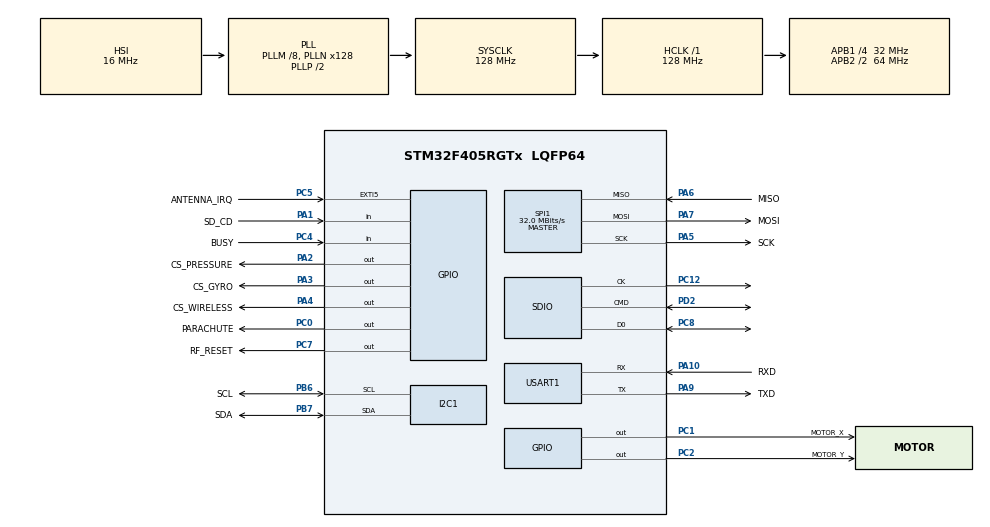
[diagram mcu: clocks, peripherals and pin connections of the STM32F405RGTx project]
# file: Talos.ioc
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FATFS.BSP.number=1
FATFS0.BSP.STBoard=false
FATFS0.BSP.api=Unknown
FATFS0.BSP.instance=PA1
FATFS0.BSP.ip=GPIO
FATFS0.BSP.mode=Input
FATFS0.BSP.name=Detect_SDIO
FATFS0.BSP.solution=PA1
I2C1.OwnAddress=0x41
Mcu.Family=STM32F4
Mcu.Name=STM32F405RGTx
Mcu.Package=LQFP64
NVIC.PriorityGroup=NVIC_PRIORITYGROUP_4
PA1.GPIO_Label=SD_CD
PA1.Signal=GPIO_Input
PA10.GPIO_Label=RXD
PA10.Mode=Asynchronous
PA10.Signal=USART1_RX
PA2.GPIO_Label=CS_PRESSURE
PA2.Signal=GPIO_Output
PA3.GPIO_Label=CS_GYRO
PA3.Signal=GPIO_Output
PA4.GPIO_Label=CS_WIRELESS
PA4.Signal=GPIO_Output
PA5.GPIO_Label=SCK
PA5.Mode=Full_Duplex_Master
PA5.Signal=SPI1_SCK
PA6.GPIO_Label=MISO
PA6.Mode=Full_Duplex_Master
PA6.Signal=SPI1_MISO
PA7.GPIO_Label=MOSI
PA7.Mode=Full_Duplex_Master
PA7.Signal=SPI1_MOSI
PA9.GPIO_Label=TXD
PA9.Mode=Asynchronous
PA9.Signal=USART1_TX
PB6.GPIO_Label=SCL
PB6.Mode=I2C
PB6.Signal=I2C1_SCL
PB7.GPIO_Label=SDA
PB7.Mode=I2C
PB7.Signal=I2C1_SDA
PC0.GPIO_Label=PARACHUTE
PC0.Signal=GPIO_Output
PC1.GPIO_Label=MOTOR_X
PC1.Signal=GPIO_Output
PC12.Mode=SD_1_bit
PC12.Signal=SDIO_CK
PC2.GPIO_Label=MOTOR_Y
PC2.Signal=GPIO_Output
PC3.GPIO_Label=IMU_INT
PC3.Signal=EVENTOUT
PC4.GPIO_Label=BUSY
PC4.Signal=GPIO_Input
PC5.GPIO_Label=ANTENNA_IRQ
PC5.Signal=GPXTI5
PC6.GPIO_Label=PRESSURE_INT
PC6.Signal=EVENTOUT
PC7.GPIO_Label=RF_RESET
PC7.Signal=GPIO_Output
PC8.Mode=SD_1_bit
PC8.Signal=SDIO_D0
PD2.Mode=SD_1_bit
PD2.Signal=SDIO_CMD
PH0-OSC_IN.Signal=RCC_OSC_IN
PH1-OSC_OUT.Signal=RCC_OSC_OUT
ProjectManager.HeapSize=0x200
ProjectManager.StackSize=0x400
ProjectManager.TargetToolchain=Makefile
RCC.48MHZClocksFreq_Value=42666666.666666664
RCC.AHBFreq_Value=128000000
RCC.APB1CLKDivider=RCC_HCLK_DIV4
RCC.APB1Freq_Value=32000000
RCC.APB1TimFreq_Value=64000000
RCC.APB2CLKDivider=RCC_HCLK_DIV2
RCC.APB2Freq_Value=64000000
RCC.APB2TimFreq_Value=128000000
RCC.CortexFreq_Value=128000000
RCC.HCLKFreq_Value=128000000
RCC.HSE_VALUE=25000000
RCC.HSI_VALUE=16000000
RCC.LSE_VALUE=32768
RCC.PLLM=8
RCC.PLLN=128
RCC.PLLQ=6
RCC.SYSCLKFreq_VALUE=128000000
RCC.SYSCLKSource=RCC_SYSCLKSOURCE_PLLCLK
RCC.VCOOutputFreq_Value=256000000
SPI1.CalculateBaudRate=32.0 MBits/s
SPI1.Direction=SPI_DIRECTION_2LINES
SPI1.Mode=SPI_MODE_MASTER
SPI1.VirtualType=VM_MASTER
USART1.VirtualMode=VM_ASYNC
VP_FATFS_VS_SDIO.Mode=SDIO
board=custom

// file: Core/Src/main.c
/* USER CODE BEGIN Header */
/**
  ******************************************************************************
  * @file           : main.c
  * @brief          : Main program body
  ******************************************************************************
  * @attention
  *
  * Copyright (c) 2024 STMicroelectronics.
  * All rights reserved.
  *
  * This software is licensed under terms that can be found in the LICENSE file
  * in the root directory of this software component.
  * If no LICENSE file comes with this software, it is provided AS-IS.
  *
  ******************************************************************************
  */
/* USER CODE END Header */
#include "main.h"
#include "fatfs.h"

/* USER CODE BEGIN Includes */
#include <lsm6dsm_reg.h>
#include <stm32f405xx.h>
#include <llcc68_hal.h>
#include <llcc68.h>
#include <bmp5.h>
/* USER CODE END Includes */

I2C_HandleTypeDef hi2c1;

SD_HandleTypeDef hsd;

SPI_HandleTypeDef hspi1;

UART_HandleTypeDef huart1;

void SystemClock_Config(void);
static void MX_GPIO_Init(void);
static void MX_SDIO_SD_Init(void);
static void MX_USART1_UART_Init(void);
static void MX_I2C1_Init(void);
static void MX_SPI1_Init(void);
/* USER CODE BEGIN PFP */
// function prototype
static int32_t lsm6dsm_platform_write(void *handle, uint8_t reg, const uint8_t *bufp,
                              uint16_t len);
static int32_t lsm6dsm_platform_read(void *handle, uint8_t reg, uint8_t *bufp,
                             uint16_t len);
static void platform_delay(uint32_t ms);

static int32_t llcc68_platform_write_read(void *handle, const uint8_t *command, uint16_t command_length,
                                          uint8_t *data, uint16_t data_length);
                                          static int32_t llcc68_platform_read(void *handle, const uint8_t *command, uint16_t command_length,
                                          uint8_t *data, uint16_t data_length);
                                          static int32_t llcc68_platform_write(void *handle, const uint8_t *command, uint16_t command_length,
                                          const uint8_t *data, uint16_t data_length);
static int32_t llcc68_platform_reset(void *handle);
static int32_t bmp5_read(uint8_t reg_addr, uint8_t *read_data, uint32_t len, void *intf_ptr);
static int32_t bmp5_write(uint8_t reg_addr,
  const uint8_t * reg_data, uint32_t len, void *intf_ptr);
  void bmp5_error_codes_print_result(const char api_name[], int8_t rslt);
  static int8_t bmp5_set_config(struct bmp5_osr_odr_press_config *osr_odr_press_cfg, struct bmp5_dev *dev);
/* USER CODE END PFP */

/* USER CODE BEGIN 0 */
  int16_t temp;
//variable initialization
static int16_t data_raw_acceleration[3];
static int16_t data_raw_angular_rate[3];
static int16_t data_raw_temperature;
static float acceleration_mg[3];
static float angular_rate_mdps[3];
static float temperature_degC;
static uint8_t whoamI, rst;
typedef struct {
  float q; // Process noise covariance
  float r; // Measurement noise covariance
  float x; // Value
  float p; // Estimation error covariance
  float k; // Kalman gain
} KalmanFilter;

void kalman_init(KalmanFilter* kf, float q, float r, float initial_value) {
  kf->q = q;
  kf->r = r;
  kf->x = initial_value;
  kf->p = 1.0f;
  kf->k = 0.0f;
}

float kalman_update(KalmanFilter* kf, float measurement) {
  // Prediction update
  kf->p += kf->q;

  // Measurement update
  kf->k = kf->p / (kf->p + kf->r);
  kf->x += kf->k * (measurement - kf->x);
  kf->p *= (1.0f - kf->k);

  return kf->x;
}
KalmanFilter kalman_acc[3];
KalmanFilter kalman_gyro[3];
/* USER CODE END 0 */

int main(void)
{

  /* MCU Configuration--------------------------------------------------------*/

  /* Reset of all peripherals, Initializes the Flash interface and the Systick. */
  HAL_Init();

  /* Configure the system clock */
  SystemClock_Config();

  /* Initialize all configured peripherals */
  MX_GPIO_Init();
  MX_SDIO_SD_Init();
  MX_USART1_UART_Init();
  MX_I2C1_Init();
  MX_FATFS_Init();
  MX_SPI1_Init();
  /* USER CODE BEGIN 2 */

  //  HAL_GPIO_WritePin(CS_GYRO_GPIO_Port, CS_GYRO_Pin, GPIO_PIN_SET);

   // variable initialization for sensor access
  stmdev_ctx_t dev_ctx;
  dev_ctx.write_reg = lsm6dsm_platform_write;
  dev_ctx.read_reg = lsm6dsm_platform_read;
  dev_ctx.handle = &hspi1;

  llcc68_ctx_t radio_ctx;
  radio_ctx.write_reg = llcc68_platform_write;
  radio_ctx.read_reg = llcc68_platform_read;
  radio_ctx.reset = llcc68_platform_reset;
  radio_ctx.handle = &hspi1;
  radio_ctx.gpio = CS_WIRELESS_GPIO_Port;

  // int8_t rslt;
  // struct bmp5_dev bmp5_ctx;
  // bmp5_ctx.intf = BMP5_SPI_INTF;
  // bmp5_ctx.intf_ptr = &hspi1;
  // bmp5_ctx.read = (bmp5_read_fptr_t) &bmp5_read;
  // bmp5_ctx.write = (bmp5_write_fptr_t) &bmp5_write;
  // bmp5_ctx.delay_us = (bmp5_delay_us_fptr_t) &platform_delay;
  // struct bmp5_osr_odr_press_config osr_odr_press_cfg = { 0 };

  /* Wait sensor boot time */
  platform_delay(1000);

  // PRESSURE SENSOR CONFIGURATION
  // bmp5_read(BMP5_REG_CHIP_ID, &whoamI, 1, &hspi1);
  // printf("Pressure sensor who am I: %d\n", whoamI);
  // rslt = bmp5_init(&bmp5_ctx);
  // bmp5_error_codes_print_result("bmp5_init", rslt);
  // if (rslt == BMP5_OK) {
  //   rslt = bmp5_set_config(&osr_odr_press_cfg, &bmp5_ctx);
  //   bmp5_error_codes_print_result("set_config", rslt);
  // }

  // IMU CONFIGURATION

  //set SPI as 3 wire communication
  lsm6dsm_spi_mode_set(&dev_ctx,LSM6DSM_SPI_3_WIRE);
  //set auto increment to read several register at same time
  lsm6dsm_auto_increment_set(&dev_ctx, 1);

  /* Check device ID */
  lsm6dsm_device_id_get(&dev_ctx, &whoamI);

  if (whoamI != LSM6DSM_ID)
    while (1) {
      /* manage here device not found */
    }

  /* Restore default configuration */
  // you should not call this function because it will give uncorrect output register value
  //lsm6dsm_reset_set(&dev_ctx, PROPERTY_ENABLE);

  do {
    lsm6dsm_reset_get(&dev_ctx, &rst);
  } while (rst);

  /*  Enable Block Data Update */
  lsm6dsm_block_data_update_set(&dev_ctx, PROPERTY_ENABLE);
  /* Set Output Data Rate for Acc and Gyro */
  lsm6dsm_xl_data_rate_set(&dev_ctx, LSM6DSM_XL_ODR_104Hz);
  lsm6dsm_gy_data_rate_set(&dev_ctx, LSM6DSM_XL_ODR_6k66Hz);
  /* Set full scale */
  lsm6dsm_xl_full_scale_set(&dev_ctx, LSM6DSM_2g);
  lsm6dsm_gy_full_scale_set(&dev_ctx, LSM6DSM_2000dps);
  /* Configure filtering chain(No aux interface)
   * Accelerometer - analog filter
   */
  lsm6dsm_xl_filter_analog_set(&dev_ctx, LSM6DSM_XL_ANA_BW_400Hz);
  /* Accelerometer - LPF1 path (LPF2 not used) */
  //lsm6dsm_xl_lp1_bandwidth_set(&dev_ctx, LSM6DSM_XL_LP1_ODR_DIV_4);
  /* Accelerometer - LPF1 + LPF2 path */
  lsm6dsm_xl_lp2_bandwidth_set(&dev_ctx,
                               LSM6DSM_XL_LOW_LAT_LP_ODR_DIV_400);
  /* Accelerometer - High Pass / Slope path */
  //lsm6dsm_xl_reference_mode_set(&dev_ctx, PROPERTY_DISABLE);
  //lsm6dsm_xl_hp_bandwidth_set(&dev_ctx, LSM6DSM_XL_HP_ODR_DIV_100);
  /* Gyroscope - filtering chain */
  lsm6dsm_gy_band_pass_set(&dev_ctx,  LSM6DSM_HP_DISABLE_LP1_LIGHT     );
  // update the offset bias of acceleration
  platform_delay(2000);

  const int SAMPLE_SIZE = 1000;
  //create a while loop that gets 5 sample of acceleration and calculate the average, then set the offset weight and write it to the sensor taking to account the above
  int16_t acc_bias[3] = {0, 0, 0};
  int i = 0;
  do {
    lsm6dsm_reg_t reg;
      /* Read output only if new value is available */
      lsm6dsm_status_reg_get(&dev_ctx, &reg.status_reg);
      if (reg.status_reg.xlda) {
        /* Read acceleration field data */
        memset(data_raw_acceleration, 0x00, 3 * sizeof(int16_t));
        lsm6dsm_acceleration_raw_get(&dev_ctx, data_raw_acceleration);
        acc_bias[0] += lsm6dsm_from_fs2g_to_mg(data_raw_acceleration[0]);
        acc_bias[1] += lsm6dsm_from_fs2g_to_mg(data_raw_acceleration[1]);
        acc_bias[2] += lsm6dsm_from_fs2g_to_mg(data_raw_acceleration[2]);
        // platform_delay(100);
        i++;
      }
  } while (i < SAMPLE_SIZE);
  acc_bias[0] /= SAMPLE_SIZE;
  acc_bias[1] /= SAMPLE_SIZE;
  acc_bias[2] /= SAMPLE_SIZE;

  acc_bias[0] = 0;
  acc_bias[1] = 0;
  acc_bias[2] = 0;
  // for (int i = 0; i < 10; i++) {
  //   lsm6dsm_acceleration_raw_get(&dev_ctx, data_raw_acceleration);
  //   acc_bias[0] += lsm6dsm_from_fs2g_to_mg(data_raw_acceleration[0]);
  //   acc_bias[1] += lsm6dsm_from_fs2g_to_mg(data_raw_acceleration[1]);
  //   acc_bias[2] += lsm6dsm_from_fs2g_to_mg(data_raw_acceleration[2]);
  //   platform_delay(100);
  // }
  // acc_bias[0] /= 10;
  // acc_bias[1] /= 10;
  // acc_bias[2] /= 10;

  // lsm6dsm_xl_usr_offset_set(&dev_ctx, (uint8_t*)acc_bias);

  // do the same for gyro
  int16_t gyro_bias[3] = {0, 0, 0};
  i = 0;
  do {
    lsm6dsm_reg_t reg;
	    /* Read output only if new value is available */
	    lsm6dsm_status_reg_get(&dev_ctx, &reg.status_reg);
      if (reg.status_reg.gda) {
        /* Read angular rate field data */
        memset(data_raw_angular_rate, 0x00, 3 * sizeof(int16_t));
        lsm6dsm_angular_rate_raw_get(&dev_ctx, data_raw_angular_rate);
        gyro_bias[0] += lsm6dsm_from_fs2000dps_to_mdps(data_raw_angular_rate[0]);
        gyro_bias[1] += lsm6dsm_from_fs2000dps_to_mdps(data_raw_angular_rate[1]);
        gyro_bias[2] += lsm6dsm_from_fs2000dps_to_mdps(data_raw_angular_rate[2]);
        // platform_delay(100);
        i++;
      }
  } while (i < SAMPLE_SIZE);
  gyro_bias[0] /= SAMPLE_SIZE;
  gyro_bias[1] /= SAMPLE_SIZE;
  gyro_bias[2] /= SAMPLE_SIZE;

  for (int i = 0; i < 3; i++) {
    kalman_init(&kalman_acc[i], 0.1f, 10.0f, 0.0f);
    kalman_init(&kalman_gyro[i], 0.1f, 10.0f, 0.0f);
  }

  gyro_bias[0] = 0;
  gyro_bias[1] = 0;
  gyro_bias[2] = 0;

  // LORA MODULE CONFIGURATION
  // llcc68_reset(&radio_ctx);
  // platform_delay(100);
  //   llcc68_set_standby(&radio_ctx, LLCC68_STANDBY_CFG_RC);
  //   llcc68_set_pkt_type(&radio_ctx, LLCC68_PKT_TYPE_LORA);
  //   llcc68_set_rf_freq(&radio_ctx, 433000000);
  // //   // // 17dBm
  // //   // // {0x03, 0x05, 0x00, 0x01}
  //   const llcc68_pa_cfg_params_t pa_cfg = {0x03,
  //     0x05,
  //    0x00,
  //     0x01
  //   };
  //   const llcc68_pkt_params_lora_t pkt_params = {14, LLCC68_LORA_PKT_EXPLICIT, 14, true, false};
  //   const llcc68_mod_params_lora_t mod_params = {LLCC68_LORA_SF11, LLCC68_LORA_BW_250, LLCC68_LORA_CR_4_5, 0};
  //   llcc68_set_pa_cfg(&radio_ctx, &pa_cfg);
  //   // //The output power is defined as power in dBm in a range of - 9 (0xF7) to +22 (0x16) dBm by step of 1 dB
  //   llcc68_set_tx_params(&radio_ctx, 0x16, LLCC68_RAMP_200_US);
  //   // llcc68_set_lora_mod_params(&radio_ctx, &mod_params);
  //   // llcc68_set_lora_pkt_params(&radio_ctx, &pkt_params);
  //    platform_delay(100);

  /* USER CODE END 2 */

  /* Infinite loop */
  /* USER CODE BEGIN WHILE */
  while (1)
  {
    // HAL_UART_Transmit(&huart1, (uint8_t*)"Hello World!\r\n", 14, 1000);
    // TEMPERATURE SENSOR INIT

    // if (HAL_I2C_IsDeviceReady(&hi2c1, 0x41 << 1, 2, 1000) == HAL_OK) {
    //   if (HAL_I2C_Master_Transmit(&hi2c1, 0x41 << 1, (uint8_t*)0xBC, 2, 1000) == HAL_OK) {
    //     uint8_t tempData[3];
    //     if (HAL_I2C_Master_Receive(&hi2c1, 0x41 << 1, &tempData, 3, 1000) == HAL_OK) {
    //       temp = (int16_t)((tempData[1] << 8) | tempData[0]);
    //       float tempFloat = ((float)temp/256.0f)+25.0f;
    //       printf("Temperature: %.3f\r\n", tempFloat);
    //     }
    //   }
    // }
    /* USER CODE END WHILE */

    /* USER CODE BEGIN 3 */
     lsm6dsm_reg_t reg;
	    /* Read output only if new value is available */
	    lsm6dsm_status_reg_get(&dev_ctx, &reg.status_reg);
	    if (reg.status_reg.xlda) {
	      /* Read acceleration field data */
	      memset(data_raw_acceleration, 0x00, 3 * sizeof(int16_t));
	      lsm6dsm_acceleration_raw_get(&dev_ctx, data_raw_acceleration);
	      acceleration_mg[0] = kalman_update(&kalman_acc[0],
          lsm6dsm_from_fs2g_to_mg(data_raw_acceleration[0]) - acc_bias[0]);
acceleration_mg[1] = kalman_update(&kalman_acc[1],
          lsm6dsm_from_fs2g_to_mg(data_raw_acceleration[1]) - acc_bias[1]);
acceleration_mg[2] = kalman_update(&kalman_acc[2],
          lsm6dsm_from_fs2g_to_mg(data_raw_acceleration[2]) - acc_bias[2]);
	      // printf("Acceleration [mg]:%4.2f\t%4.2f\t%4.2f\r\n",
	      //         acceleration_mg[0], acceleration_mg[1], acceleration_mg[2]);
        // printf("ACCEL:%4.2f,%4.2f,%4.2f\r\n", acceleration_mg[0], acceleration_mg[1], acceleration_mg[2]);
	    } else {
        acceleration_mg[0] = 0;
        acceleration_mg[1] = 0;
        acceleration_mg[2] = 0;
      }

	    if (reg.status_reg.gda) {
	      /* Read angular rate field data */
	      memset(data_raw_angular_rate, 0x00, 3 * sizeof(int16_t));
	      lsm6dsm_angular_rate_raw_get(&dev_ctx, data_raw_angular_rate);
	      angular_rate_mdps[0] = kalman_update(&kalman_gyro[0],
          lsm6dsm_from_fs2000dps_to_mdps(data_raw_angular_rate[0]) - gyro_bias[0]);
angular_rate_mdps[1] = kalman_update(&kalman_gyro[1],
          lsm6dsm_from_fs2000dps_to_mdps(data_raw_angular_rate[1]) - gyro_bias[1]);
angular_rate_mdps[2] = kalman_update(&kalman_gyro[2],
          lsm6dsm_from_fs2000dps_to_mdps(data_raw_angular_rate[2]) - gyro_bias[2]);
	      // printf("Angular rate [mdps]:%4.2f\t%4.2f\t%4.2f\r\n", angular_rate_mdps[0], angular_rate_mdps[1], angular_rate_mdps[2]);
	      // printf("ANGLE:%4.2f,%4.2f,%4.2f\r\n", angular_rate_mdps[0], angular_rate_mdps[1], angular_rate_mdps[2]);
	    }
	    if (reg.status_reg.tda) {
	      /* Read temperature data */
	      memset(&data_raw_temperature, 0x00, sizeof(int16_t));
	      lsm6dsm_temperature_raw_get(&dev_ctx, &data_raw_temperature);
	      temperature_degC = lsm6dsm_from_lsb_to_celsius(
	                           data_raw_temperature);
	      // printf("Temperature [degC]:%6.2f\r\n",
	      //         temperature_degC);
        // printf("TEMP:%.2f,101.325\r\n", temperature_degC);
	    }
      printf("%4.2f,%4.2f,%4.2f,%4.2f,%4.2f,%4.2f,%.2f,101.325\r\n", acceleration_mg[0], acceleration_mg[1], acceleration_mg[2], angular_rate_mdps[0], angular_rate_mdps[1], angular_rate_mdps[2], temperature_degC);
      // acceleration_mg[0] = 0;
      // acceleration_mg[1] = 0;
      // acceleration_mg[2] = 0;
      // angular_rate_mdps[0] = 0;
      // angular_rate_mdps[1] = 0;
      // angular_rate_mdps[2] = 0;
      // temperature_degC = 0;

      // uint8_t int_status;
      // struct bmp5_sensor_data bmp5_data;
      //   rslt = bmp5_get_interrupt_status(&int_status, &bmp5_ctx);
      //   bmp5_error_codes_print_result("bmp5_get_interrupt_status", rslt);

      //   if (int_status & BMP5_INT_ASSERTED_DRDY)
      //   {
      //       rslt = bmp5_get_sensor_data(&bmp5_data, &osr_odr_press_cfg, &bmp5_ctx);
      //       bmp5_error_codes_print_result("bmp5_get_sensor_data", rslt);

      //       if (rslt == BMP5_OK)
      //       {
      //           printf("%f\r\n", bmp5_data.pressure);
      //       }
      //   }
    //   llcc68_set_buffer_base_address(&radio_ctx, 0x00, 0x00);
    // llcc68_write_buffer(&radio_ctx, 0x00, (uint8_t*)"Hello World!\r\n", 14);
    // llcc68_set_lora_mod_params(&radio_ctx, &mod_params);
    // llcc68_set_lora_pkt_params(&radio_ctx, &pkt_params);
    // llcc68_set_dio_irq_params(&radio_ctx, LLCC68_IRQ_TX_DONE | LLCC68_IRQ_RX_DONE, LLCC68_IRQ_TX_DONE | LLCC68_IRQ_RX_DONE, LLCC68_IRQ_NONE, LLCC68_IRQ_NONE);

    // llcc68_write_register(&radio_ctx, 0x06C0, (uint8_t)0x12, 1);
    // llcc68_write_register(&radio_ctx, 0x06C1, (uint8_t)0x23, 1);
    // llcc68_write_register(&radio_ctx, 0x06C2, (uint8_t)0x34, 1);
    // llcc68_write_register(&radio_ctx, 0x06C3, (uint8_t)0x45, 1);
    // llcc68_write_register(&radio_ctx, 0x06C4, (uint8_t)0x56, 1);
    // llcc68_write_register(&radio_ctx, 0x06C5, (uint8_t)0x67, 1);
    // llcc68_write_register(&radio_ctx, 0x06C6, (uint8_t)0x78, 1);
    // llcc68_write_register(&radio_ctx, 0x06C7, (uint8_t)0x89, 1);

    // llcc68_set_tx(&radio_ctx, 100);
    // platform_delay(100);
    // //  llcc68_set_standby(&radio_ctx, LLCC68_STANDBY_CFG_RC);
    //   llcc68_chip_status_t chip_status;
    //   llcc68_get_status(&radio_ctx, &chip_status);
    //   printf("Chip Mode: %d, Chip Status: %d\r\n", chip_status.chip_mode, chip_status.cmd_status);
    //  // print if busy or not with busy gpio pin
    //  HAL_GPIO_ReadPin(BUSY_GPIO_Port, BUSY_Pin) == GPIO_PIN_SET ? printf("Busy\r\n") : printf("Not Busy\r\n");
    //   platform_delay(100);
  }
  /* USER CODE END 3 */
}

void SystemClock_Config(void)
{
  RCC_OscInitTypeDef RCC_OscInitStruct = {0};
  RCC_ClkInitTypeDef RCC_ClkInitStruct = {0};

  /** Configure the main internal regulator output voltage
  */
  __HAL_RCC_PWR_CLK_ENABLE();
  __HAL_PWR_VOLTAGESCALING_CONFIG(PWR_REGULATOR_VOLTAGE_SCALE1);

  /** Initializes the RCC Oscillators according to the specified parameters
  * in the RCC_OscInitTypeDef structure.
  */
  RCC_OscInitStruct.OscillatorType = RCC_OSCILLATORTYPE_HSI;
  RCC_OscInitStruct.HSIState = RCC_HSI_ON;
  RCC_OscInitStruct.HSICalibrationValue = RCC_HSICALIBRATION_DEFAULT;
  RCC_OscInitStruct.PLL.PLLState = RCC_PLL_ON;
  RCC_OscInitStruct.PLL.PLLSource = RCC_PLLSOURCE_HSI;
  RCC_OscInitStruct.PLL.PLLM = 8;
  RCC_OscInitStruct.PLL.PLLN = 128;
  RCC_OscInitStruct.PLL.PLLP = RCC_PLLP_DIV2;
  RCC_OscInitStruct.PLL.PLLQ = 6;
  if (HAL_RCC_OscConfig(&RCC_OscInitStruct) != HAL_OK)
  {
    Error_Handler();
  }

  /** Initializes the CPU, AHB and APB buses clocks
  */
  RCC_ClkInitStruct.ClockType = RCC_CLOCKTYPE_HCLK|RCC_CLOCKTYPE_SYSCLK
                              |RCC_CLOCKTYPE_PCLK1|RCC_CLOCKTYPE_PCLK2;
  RCC_ClkInitStruct.SYSCLKSource = RCC_SYSCLKSOURCE_PLLCLK;
  RCC_ClkInitStruct.AHBCLKDivider = RCC_SYSCLK_DIV1;
  RCC_ClkInitStruct.APB1CLKDivider = RCC_HCLK_DIV4;
  RCC_ClkInitStruct.APB2CLKDivider = RCC_HCLK_DIV2;

  if (HAL_RCC_ClockConfig(&RCC_ClkInitStruct, FLASH_LATENCY_4) != HAL_OK)
  {
    Error_Handler();
  }
}

static void MX_I2C1_Init(void)
{

  hi2c1.Instance = I2C1;
  hi2c1.Init.ClockSpeed = 100000;
  hi2c1.Init.DutyCycle = I2C_DUTYCYCLE_2;
  hi2c1.Init.OwnAddress1 = 130;
  hi2c1.Init.AddressingMode = I2C_ADDRESSINGMODE_7BIT;
  hi2c1.Init.DualAddressMode = I2C_DUALADDRESS_DISABLE;
  hi2c1.Init.OwnAddress2 = 0;
  hi2c1.Init.GeneralCallMode = I2C_GENERALCALL_DISABLE;
  hi2c1.Init.NoStretchMode = I2C_NOSTRETCH_DISABLE;
  if (HAL_I2C_Init(&hi2c1) != HAL_OK)
  {
    Error_Handler();
  }
  /* USER CODE BEGIN I2C1_Init 2 */
    if (HAL_I2C_IsDeviceReady(&hi2c1, 0x41 << 1, 2, 1000) != HAL_OK) {
      HAL_UART_Transmit(&huart1, (uint8_t*)"Temperature not ready\r\n", 32, 1000);
    } else {
      HAL_I2C_Mem_Write(&hi2c1, 0x41 << 1, 0x04, 1, (uint8_t*)0x00, 1, 1000);
    }
  /* USER CODE END I2C1_Init 2 */

}

static void MX_SDIO_SD_Init(void)
{

  hsd.Instance = SDIO;
  hsd.Init.ClockEdge = SDIO_CLOCK_EDGE_RISING;
  hsd.Init.ClockBypass = SDIO_CLOCK_BYPASS_DISABLE;
  hsd.Init.ClockPowerSave = SDIO_CLOCK_POWER_SAVE_DISABLE;
  hsd.Init.BusWide = SDIO_BUS_WIDE_1B;
  hsd.Init.HardwareFlowControl = SDIO_HARDWARE_FLOW_CONTROL_DISABLE;
  hsd.Init.ClockDiv = 0;

}

static void MX_SPI1_Init(void)
{

  /* SPI1 parameter configuration*/
  hspi1.Instance = SPI1;
  hspi1.Init.Mode = SPI_MODE_MASTER;
  hspi1.Init.Direction = SPI_DIRECTION_2LINES;
  hspi1.Init.DataSize = SPI_DATASIZE_8BIT;
  hspi1.Init.CLKPolarity = SPI_POLARITY_LOW;
  hspi1.Init.CLKPhase = SPI_PHASE_1EDGE;
  hspi1.Init.NSS = SPI_NSS_SOFT;
  hspi1.Init.BaudRatePrescaler = SPI_BAUDRATEPRESCALER_2;
  hspi1.Init.FirstBit = SPI_FIRSTBIT_MSB;
  hspi1.Init.TIMode = SPI_TIMODE_DISABLE;
  hspi1.Init.CRCCalculation = SPI_CRCCALCULATION_DISABLE;
  hspi1.Init.CRCPolynomial = 10;
  if (HAL_SPI_Init(&hspi1) != HAL_OK)
  {
    Error_Handler();
  }

}

static void MX_USART1_UART_Init(void)
{

  huart1.Instance = USART1;
  huart1.Init.BaudRate = 115200;
  huart1.Init.WordLength = UART_WORDLENGTH_8B;
  huart1.Init.StopBits = UART_STOPBITS_1;
  huart1.Init.Parity = UART_PARITY_NONE;
  huart1.Init.Mode = UART_MODE_TX_RX;
  huart1.Init.HwFlowCtl = UART_HWCONTROL_NONE;
  huart1.Init.OverSampling = UART_OVERSAMPLING_16;
  if (HAL_UART_Init(&huart1) != HAL_OK)
  {
    Error_Handler();
  }

}

static void MX_GPIO_Init(void)
{
  GPIO_InitTypeDef GPIO_InitStruct = {0};

  /* GPIO Ports Clock Enable */
  __HAL_RCC_GPIOH_CLK_ENABLE();
  __HAL_RCC_GPIOC_CLK_ENABLE();
  __HAL_RCC_GPIOA_CLK_ENABLE();
  __HAL_RCC_GPIOD_CLK_ENABLE();
  __HAL_RCC_GPIOB_CLK_ENABLE();

  /*Configure GPIO pin Output Level */
  HAL_GPIO_WritePin(GPIOC, PARACHUTE_Pin|MOTOR_X_Pin|MOTOR_Y_Pin|RF_RESET_Pin, GPIO_PIN_RESET);

  /*Configure GPIO pin Output Level */
  HAL_GPIO_WritePin(GPIOA, CS_PRESSURE_Pin|CS_GYRO_Pin|CS_WIRELESS_Pin, GPIO_PIN_RESET);

  /*Configure GPIO pins : PARACHUTE_Pin MOTOR_X_Pin MOTOR_Y_Pin RF_RESET_Pin */
  GPIO_InitStruct.Pin = PARACHUTE_Pin|MOTOR_X_Pin|MOTOR_Y_Pin|RF_RESET_Pin;
  GPIO_InitStruct.Mode = GPIO_MODE_OUTPUT_PP;
  GPIO_InitStruct.Pull = GPIO_NOPULL;
  GPIO_InitStruct.Speed = GPIO_SPEED_FREQ_LOW;
  HAL_GPIO_Init(GPIOC, &GPIO_InitStruct);

  /*Configure GPIO pins : IMU_INT_Pin PRESSURE_INT_Pin */
  GPIO_InitStruct.Pin = IMU_INT_Pin|PRESSURE_INT_Pin;
  GPIO_InitStruct.Mode = GPIO_MODE_AF_PP;
  GPIO_InitStruct.Pull = GPIO_NOPULL;
  GPIO_InitStruct.Speed = GPIO_SPEED_FREQ_LOW;
  GPIO_InitStruct.Alternate = GPIO_AF15_EVENTOUT;
  HAL_GPIO_Init(GPIOC, &GPIO_InitStruct);

  /*Configure GPIO pin : SD_CD_Pin */
  GPIO_InitStruct.Pin = SD_CD_Pin;
  GPIO_InitStruct.Mode = GPIO_MODE_INPUT;
  GPIO_InitStruct.Pull = GPIO_NOPULL;
  HAL_GPIO_Init(SD_CD_GPIO_Port, &GPIO_InitStruct);

  /*Configure GPIO pins : CS_PRESSURE_Pin CS_GYRO_Pin CS_WIRELESS_Pin */
  GPIO_InitStruct.Pin = CS_PRESSURE_Pin|CS_GYRO_Pin|CS_WIRELESS_Pin;
  GPIO_InitStruct.Mode = GPIO_MODE_OUTPUT_PP;
  GPIO_InitStruct.Pull = GPIO_NOPULL;
  GPIO_InitStruct.Speed = GPIO_SPEED_FREQ_LOW;
  HAL_GPIO_Init(GPIOA, &GPIO_InitStruct);

  /*Configure GPIO pin : BUSY_Pin */
  GPIO_InitStruct.Pin = BUSY_Pin;
  GPIO_InitStruct.Mode = GPIO_MODE_INPUT;
  GPIO_InitStruct.Pull = GPIO_NOPULL;
  HAL_GPIO_Init(BUSY_GPIO_Port, &GPIO_InitStruct);

  /*Configure GPIO pin : ANTENNA_IRQ_Pin */
  GPIO_InitStruct.Pin = ANTENNA_IRQ_Pin;
  GPIO_InitStruct.Mode = GPIO_MODE_IT_RISING;
  GPIO_InitStruct.Pull = GPIO_NOPULL;
  HAL_GPIO_Init(ANTENNA_IRQ_GPIO_Port, &GPIO_InitStruct);

}

/* USER CODE BEGIN 4 */

int _write(int fd, char* ptr, int len) {
	HAL_UART_Transmit(&huart1, (uint8_t*) ptr, len, 0xffffff);
	return len;
}

void HAL_GPIO_EXTI_Callback(uint16_t GPIO_Pin)
{
  if(GPIO_Pin == ANTENNA_IRQ_Pin) {
    printf("IRQ HANDLEDDD FORM THE ANTENAAAAAAA");
  } else {
      __NOP();
  }
}

/*
 * @brief  Write generic device register (platform dependent)
 *
 * @param  handle    customizable argument. In this examples is used in
 *                   order to select the correct sensor bus handler.
 * @param  reg       register to write
 * @param  bufp      pointer to data to write in register reg
 * @param  len       number of consecutive register to write
 *
 */
static int32_t lsm6dsm_platform_write(void *handle, uint8_t reg, const uint8_t *bufp,
                              uint16_t len)
{
	  HAL_GPIO_WritePin(CS_GYRO_GPIO_Port, CS_GYRO_Pin, GPIO_PIN_RESET);
	  HAL_SPI_Transmit(handle, &reg, 1, 1000);
	  HAL_SPI_Transmit(handle, (uint8_t*) bufp, len, 1000);
	  HAL_GPIO_WritePin(CS_GYRO_GPIO_Port, CS_GYRO_Pin, GPIO_PIN_SET);
  return 0;
}

/*
 * @brief  Read generic device register (platform dependent)
 *
 * @param  handle    customizable argument. In this examples is used in
 *                   order to select the correct sensor bus handler.
 * @param  reg       register to read
 * @param  bufp      pointer to buffer that store the data read
 * @param  len       number of consecutive register to read
 *
 */
static int32_t lsm6dsm_platform_read(void *handle, uint8_t reg, uint8_t *bufp,
                             uint16_t len)
{
	  reg |= 0x80;
	  HAL_GPIO_WritePin(CS_GYRO_GPIO_Port, CS_GYRO_Pin, GPIO_PIN_RESET);
	  HAL_SPI_Transmit(handle, &reg, 1, 1000);
	  HAL_SPI_Receive(handle, bufp, len, 1000);
	  HAL_GPIO_WritePin(CS_GYRO_GPIO_Port, CS_GYRO_Pin, GPIO_PIN_SET);
  return 0;
}

static int32_t llcc68_platform_reset(void *handle) {
  HAL_GPIO_WritePin(RF_RESET_GPIO_Port, RF_RESET_Pin, GPIO_PIN_RESET);
  HAL_Delay(1);
  HAL_GPIO_WritePin(RF_RESET_GPIO_Port, RF_RESET_Pin, GPIO_PIN_SET);
  HAL_Delay(1);
  return 0;
}

static int32_t bmp5_read(uint8_t reg_addr, uint8_t * reg_data, uint32_t len, void *intf_ptr) {
  HAL_GPIO_WritePin(CS_PRESSURE_GPIO_Port, CS_PRESSURE_Pin, GPIO_PIN_RESET);
  HAL_SPI_Transmit(&hspi1, &reg_addr, 1, 1000);
	  HAL_SPI_Receive(&hspi1, reg_data, len, 1000);
	  HAL_GPIO_WritePin(CS_PRESSURE_GPIO_Port, CS_PRESSURE_Pin, GPIO_PIN_SET);
  return 0;
}

static int32_t bmp5_write(uint8_t reg_addr,
  const uint8_t * reg_data, uint32_t len, void *intf_ptr) {
  HAL_GPIO_WritePin(CS_PRESSURE_GPIO_Port, CS_PRESSURE_Pin, GPIO_PIN_RESET);
  HAL_SPI_Transmit(&hspi1, &reg_addr, 1, 1000);
	HAL_SPI_Transmit(&hspi1, (uint8_t*) reg_data, len, 1000);
  HAL_GPIO_WritePin(CS_PRESSURE_GPIO_Port, CS_PRESSURE_Pin, GPIO_PIN_SET);
  return 0;
}

/*!
 *  @brief Prints the execution status of the APIs.
 */
void bmp5_error_codes_print_result(const char api_name[], int8_t rslt)
{
    if (rslt != BMP5_OK)
    {
        printf("%s\t", api_name);
        if (rslt == BMP5_E_NULL_PTR)
        {
            printf("Error [%d] : Null pointer\r\n", rslt);
        }
        else if (rslt == BMP5_E_COM_FAIL)
        {
            printf("Error [%d] : Communication failure\r\n", rslt);
        }
        else if (rslt == BMP5_E_DEV_NOT_FOUND)
        {
            printf("Error [%d] : Device not found\r\n", rslt);
        }
        else if (rslt == BMP5_E_INVALID_CHIP_ID)
        {
            printf("Error [%d] : Invalid chip id\r\n", rslt);
        }
        else if (rslt == BMP5_E_POWER_UP)
        {
            printf("Error [%d] : Power up error\r\n", rslt);
        }
        else if (rslt == BMP5_E_POR_SOFTRESET)
        {
            printf("Error [%d] : Power-on reset/softreset failure\r\n", rslt);
        }
        else if (rslt == BMP5_E_INVALID_POWERMODE)
        {
            printf("Error [%d] : Invalid powermode\r\n", rslt);
        }
        else
        {
            /* For more error codes refer "*_defs.h" */
            printf("Error [%d] : Unknown error code\r\n", rslt);
        }
    }
}
static int8_t bmp5_set_config(struct bmp5_osr_odr_press_config *osr_odr_press_cfg, struct bmp5_dev *dev)
{
    int8_t rslt;
    struct bmp5_iir_config set_iir_cfg;
    struct bmp5_int_source_select int_source_select;

    rslt = bmp5_set_power_mode(BMP5_POWERMODE_STANDBY, dev);
    bmp5_error_codes_print_result("bmp5_set_power_mode1", rslt);

    if (rslt == BMP5_OK)
    {
        /* Get default odr */
        rslt = bmp5_get_osr_odr_press_config(osr_odr_press_cfg, dev);
        bmp5_error_codes_print_result("bmp5_get_osr_odr_press_config", rslt);

        if (rslt == BMP5_OK)
        {
            /* Set ODR as 50Hz */
            osr_odr_press_cfg->odr = BMP5_ODR_50_HZ;

            /* Enable pressure */
            osr_odr_press_cfg->press_en = BMP5_ENABLE;

            /* Set Over-sampling rate with respect to odr */
            osr_odr_press_cfg->osr_t = BMP5_OVERSAMPLING_64X;
            osr_odr_press_cfg->osr_p = BMP5_OVERSAMPLING_4X;

            rslt = bmp5_set_osr_odr_press_config(osr_odr_press_cfg, dev);
            bmp5_error_codes_print_result("bmp5_set_osr_odr_press_config", rslt);
        }

        if (rslt == BMP5_OK)
        {
            set_iir_cfg.set_iir_t = BMP5_IIR_FILTER_COEFF_1;
            set_iir_cfg.set_iir_p = BMP5_IIR_FILTER_COEFF_1;
            set_iir_cfg.shdw_set_iir_t = BMP5_ENABLE;
            set_iir_cfg.shdw_set_iir_p = BMP5_ENABLE;

            rslt = bmp5_set_iir_config(&set_iir_cfg, dev);
            bmp5_error_codes_print_result("bmp5_set_iir_config", rslt);
        }

        if (rslt == BMP5_OK)
        {
            rslt = bmp5_configure_interrupt(BMP5_PULSED, BMP5_ACTIVE_HIGH, BMP5_INTR_PUSH_PULL, BMP5_INTR_ENABLE, dev);
            bmp5_error_codes_print_result("bmp5_configure_interrupt", rslt);

            if (rslt == BMP5_OK)
            {
                /* Note : Select INT_SOURCE after configuring interrupt */
                int_source_select.drdy_en = BMP5_ENABLE;
                rslt = bmp5_int_source_select(&int_source_select, dev);
                bmp5_error_codes_print_result("bmp5_int_source_select", rslt);
            }
        }

        /* Set powermode as normal */
        rslt = bmp5_set_power_mode(BMP5_POWERMODE_NORMAL, dev);
        bmp5_error_codes_print_result("bmp5_set_power_mode", rslt);
    }

    return rslt;
}

/*
 * @brief  platform specific delay (platform dependent)
 *
 * @param  ms        delay in ms
 *
 */
static void platform_delay(uint32_t ms)
{
  HAL_Delay(ms);
}

static int32_t llcc68_platform_read(void *handle, const uint8_t* command, const uint16_t command_length,
                                     uint8_t* data, const uint16_t data_length ) {
  HAL_GPIO_WritePin(CS_WIRELESS_GPIO_Port, CS_WIRELESS_Pin, GPIO_PIN_RESET);
  HAL_SPI_Transmit(&hspi1, command, command_length, 1000);
	  HAL_SPI_Receive(&hspi1, data, data_length, 1000);
	  HAL_GPIO_WritePin(CS_WIRELESS_GPIO_Port, CS_WIRELESS_Pin, GPIO_PIN_SET);
  return 0;
}

static int32_t llcc68_platform_write(void *handle, const uint8_t* command, const uint16_t command_length,
                                     const uint8_t* data, const uint16_t data_length ) {
  HAL_GPIO_WritePin(CS_WIRELESS_GPIO_Port, CS_WIRELESS_Pin, GPIO_PIN_RESET);
  HAL_SPI_Transmit(&hspi1, command, command_length, 1000);
  HAL_SPI_Transmit(&hspi1, data, data_length, 1000);
  HAL_GPIO_WritePin(CS_WIRELESS_GPIO_Port, CS_WIRELESS_Pin, GPIO_PIN_SET);
  return 0;
}

static int32_t llcc68_platform_write_read(void *handle, const uint8_t* command, const uint16_t command_length,
                                     uint8_t* data, const uint16_t data_length ) {
 uint8_t res;

    /* set cs low */
    HAL_GPIO_WritePin(CS_WIRELESS_GPIO_Port, CS_WIRELESS_Pin, GPIO_PIN_RESET);

    /* if in_len > 0 */
    if (command_length > 0)
    {
        /* transmit the input buffer */
        res = HAL_SPI_Transmit(&hspi1, command, command_length, 1000);
        if (res != HAL_OK)
        {
            /* set cs high */
            HAL_GPIO_WritePin(CS_WIRELESS_GPIO_Port, CS_WIRELESS_Pin, GPIO_PIN_SET);

            return 1;
        }
    }

    /* if out_len > 0 */
    if (data_length > 0)
    {
        /* transmit to the output buffer */
        res = HAL_SPI_Receive(&hspi1, data, data_length, 1000);
        if (res != HAL_OK)
        {
            /* set cs high */
            HAL_GPIO_WritePin(CS_WIRELESS_GPIO_Port, CS_WIRELESS_Pin, GPIO_PIN_SET);

            return 1;
        }
    }

    /* set cs high */
    HAL_GPIO_WritePin(CS_WIRELESS_GPIO_Port, CS_WIRELESS_Pin, GPIO_PIN_SET);

    return 0;
                                     }

/* USER CODE END 4 */

void Error_Handler(void)
{
  __disable_irq();
  while (1)
  {
  }
}
